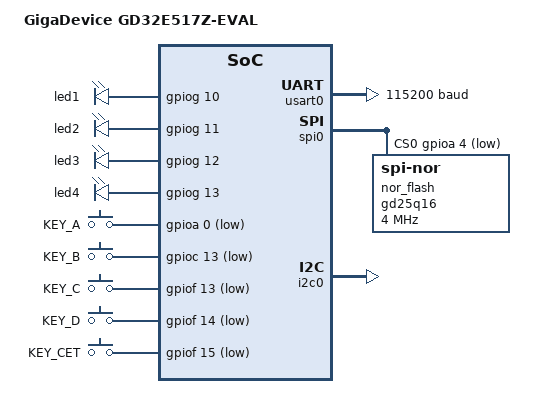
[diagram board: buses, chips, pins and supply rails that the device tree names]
/*
 * Copyright (c) 2025, GigaDevice Semiconductor Inc.
 * SPDX-License-Identifier: Apache-2.0
 */

/dts-v1/;

#include <arm/gd/gd32e51x/gd32e517ze.dtsi>
#include "gd32e517z_eval-pinctrl.dtsi"
#include <zephyr/dt-bindings/input/input-event-codes.h>

/ {
	model = "GigaDevice GD32E517Z-EVAL";
	compatible = "gd,gd32e517z-eval";

	chosen {
		zephyr,sram = &sram0;
		zephyr,flash = &flash0;
		zephyr,console = &usart0;
		zephyr,shell-uart = &usart0;
	};

	leds {
		compatible = "gpio-leds";

		led1: led1 {
			gpios = <&gpiog 10 GPIO_ACTIVE_HIGH>;
		};

		led2: led2 {
			gpios = <&gpiog 11 GPIO_ACTIVE_HIGH>;
		};

		led3: led3 {
			gpios = <&gpiog 12 GPIO_ACTIVE_HIGH>;
		};

		led4: led4 {
			gpios = <&gpiog 13 GPIO_ACTIVE_HIGH>;
		};
	};

	gpio_keys {
		compatible = "gpio-keys";

		key_a: key_a {
			label = "KEY_A";
			gpios = <&gpioa 0 GPIO_ACTIVE_LOW>;
			zephyr,code = <INPUT_KEY_A>;
		};

		key_b: key_b {
			label = "KEY_B";
			gpios = <&gpioc 13 GPIO_ACTIVE_LOW>;
			zephyr,code = <INPUT_KEY_B>;
		};

		key_c: key_c {
			label = "KEY_C";
			gpios = <&gpiof 13 GPIO_ACTIVE_LOW>;
			zephyr,code = <INPUT_KEY_C>;
		};

		key_d: key_d {
			label = "KEY_D";
			gpios = <&gpiof 14 GPIO_ACTIVE_LOW>;
			zephyr,code = <INPUT_KEY_D>;
		};

		key_cet: key_cet {
			label = "KEY_CET";
			gpios = <&gpiof 15 GPIO_ACTIVE_LOW>;
			zephyr,code = <INPUT_KEY_0>;
		};
	};

	aliases {
		led0 = &led1;
		sw0 = &key_a;
	};
};

&gpioa {
	status = "okay";
};

&gpioc {
	status = "okay";
};

&gpiof {
	status = "okay";
};

&gpiog {
	status = "okay";
};

&gpiob {
	status = "okay";
};

&dma0 {
	status = "okay";
};

&usart0 {
	status = "okay";
	current-speed = <115200>;
	pinctrl-0 = <&usart0_default>;
	pinctrl-names = "default";
	dmas = <&dma0 4 0>, <&dma0 3 0>;
	dma-names = "rx", "tx";
};

&spi0 {
	status = "okay";
	pinctrl-0 = <&spi0_default>;
	pinctrl-names = "default";
	cs-gpios = <&gpioa 4 GPIO_ACTIVE_LOW>;
	nor_flash: gd25q16@0 {
		compatible = "jedec,spi-nor";
		size = <0x1000000>;
		reg = <0>;
		spi-max-frequency = <4000000>;
		status = "okay";
		jedec-id = [c8 40 15];
	};
};

&spi1 {
	status = "disabled";
	pinctrl-0 = <&spi1_default>;
	pinctrl-names = "default";
	cs-gpios = <&gpiob 12 GPIO_ACTIVE_LOW>;
};

&i2c0 {
	status = "okay";
	pinctrl-0 = <&i2c0_default>;
	pinctrl-names = "default";
};
